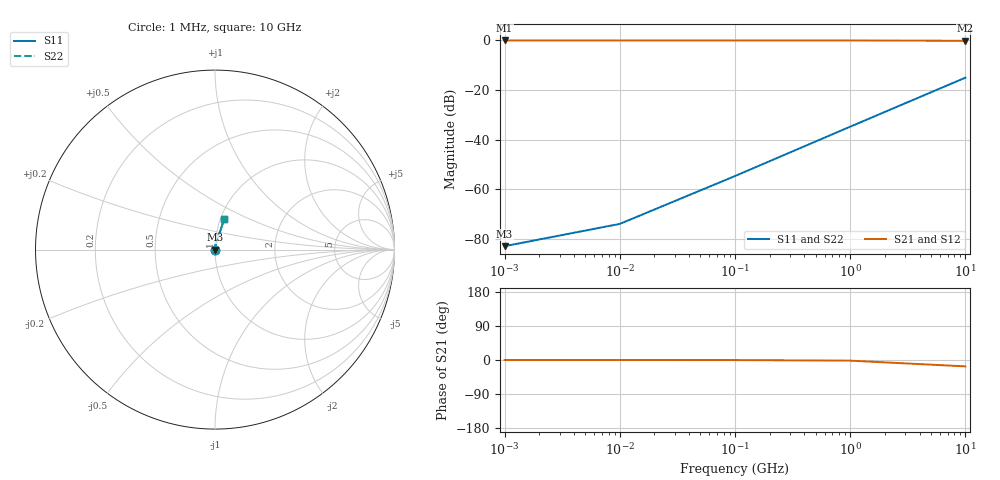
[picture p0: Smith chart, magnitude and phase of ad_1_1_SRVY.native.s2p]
! Sonnet Data File
! From: em Version : 18.53-Lite
! From Project: ad_1_1_SRVY
! Data is NOT De-embedded
! Data File Written: 10/12/2026 11:53:26
!< HDATE 10/12/2026 11:53:26
!< MDATE 10/12/2026 11:53:26
# GHZ S RI R 50.00000
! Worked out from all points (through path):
!   5 points, 1 MHz to 10 GHz, reference 50 ohm
!   highest |S21| = 0.00 dB at 1 MHz (marker M1); lowest = -0.1 dB at 10 GHz (marker M2)
!   lowest |S11| = -82.9 dB at 1 MHz (marker M3), VSWR 1.00, Z = 50 + j0.00192 ohm
!   |S11| at or under -10 dB: start of sweep to end of sweep
!   |S22| runs from -82.9 to -15.0 dB; largest |S21 - S12| = 2.4e-12
0.001  6.93e-05 1.92e-05  0.9999 -3.06e-05  0.9999 -3.06e-05  6.93e-05 1.92e-05
0.01  7.13e-05 0.000189  0.9999 -0.000303  0.9999 -0.000303  7.13e-05 0.000189
0.1  9.14e-05 0.00186  0.9999 -0.00299  0.9999 -0.00299  9.14e-05 0.00186
1  0.000703 0.0183  0.9992 -0.0297  0.9992 -0.0297  0.000703 0.0183
10  0.0517 0.1703  0.9417 -0.2845  0.9417 -0.2845  0.0517 0.1703
